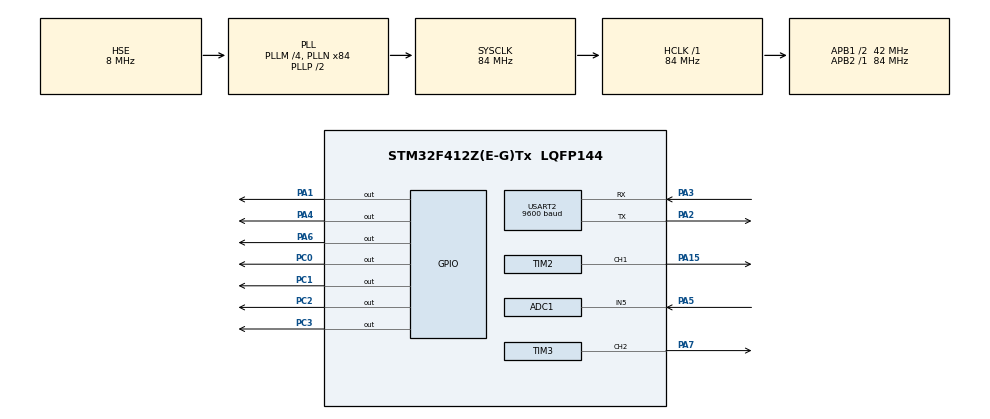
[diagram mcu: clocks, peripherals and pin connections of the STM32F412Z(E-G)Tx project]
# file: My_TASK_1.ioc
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ADC1.Channel-0\#ChannelRegularConversion=ADC_CHANNEL_5
ADC1.ContinuousConvMode=ENABLE
ADC1.NbrOfConversionFlag=1
ADC1.Rank-0\#ChannelRegularConversion=1
ADC1.SamplingTime-0\#ChannelRegularConversion=ADC_SAMPLETIME_480CYCLES
ADC1.master=1
Mcu.Family=STM32F4
Mcu.Name=STM32F412Z(E-G)Tx
Mcu.Package=LQFP144
NVIC.PriorityGroup=NVIC_PRIORITYGROUP_4
NVIC.USART2_IRQn=true\:0\:0\:false\:false\:true\:true\:true\:true
PA1.Signal=GPIO_Output
PA13.Mode=Serial_Wire
PA13.Signal=SYS_JTMS-SWDIO
PA14.Mode=Serial_Wire
PA14.Signal=SYS_JTCK-SWCLK
PA15.Signal=S_TIM2_CH1_ETR
PA2.GPIO_PuPd=GPIO_PULLUP
PA2.Mode=Asynchronous
PA2.Signal=USART2_TX
PA3.GPIO_PuPd=GPIO_PULLUP
PA3.Mode=Asynchronous
PA3.Signal=USART2_RX
PA4.Signal=GPIO_Output
PA5.Signal=ADCx_IN5
PA6.Signal=GPIO_Output
PA7.Signal=S_TIM3_CH2
PC0.Signal=GPIO_Output
PC1.Signal=GPIO_Output
PC2.Signal=GPIO_Output
PC3.Signal=GPIO_Output
PH0\ -\ OSC_IN.Mode=HSE-External-Oscillator
PH0\ -\ OSC_IN.Signal=RCC_OSC_IN
PH1\ -\ OSC_OUT.Mode=HSE-External-Oscillator
PH1\ -\ OSC_OUT.Signal=RCC_OSC_OUT
ProjectManager.HeapSize=0x200
ProjectManager.StackSize=0x400
ProjectManager.TargetToolchain=STM32CubeIDE
RCC.AHBFreq_Value=84000000
RCC.APB1CLKDivider=RCC_HCLK_DIV2
RCC.APB1Freq_Value=42000000
RCC.APB1TimFreq_Value=84000000
RCC.APB2Freq_Value=84000000
RCC.APB2TimFreq_Value=84000000
RCC.CortexFreq_Value=84000000
RCC.HCLKFreq_Value=84000000
RCC.HSE_VALUE=8000000
RCC.PLLM=4
RCC.PLLN=84
RCC.PLLSourceVirtual=RCC_PLLSOURCE_HSE
RCC.SYSCLKFreq_VALUE=84000000
RCC.SYSCLKSource=RCC_SYSCLKSOURCE_PLLCLK
RCC.USBFreq_Value=84000000
RCC.VCOOutputFreq_Value=168000000
SH.ADCx_IN5.0=ADC1_IN5,IN5
SH.S_TIM2_CH1_ETR.0=TIM2_CH1,PWM Generation1 CH1
SH.S_TIM3_CH2.0=TIM3_CH2,PWM Generation2 CH2
TIM2.Channel-PWM\ Generation1\ CH1=TIM_CHANNEL_1
TIM2.Period=10000-1
TIM2.Prescaler=8400-1
TIM3.Channel-PWM\ Generation2\ CH2=TIM_CHANNEL_2
TIM3.Period=4096-1
TIM3.Prescaler=84-1
USART2.BaudRate=9600
USART2.VirtualMode=VM_ASYNC
VP_TIM2_VS_ClockSourceINT.Mode=Internal
VP_TIM3_VS_ClockSourceINT.Mode=Internal
board=custom

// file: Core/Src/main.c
/* USER CODE END Header */
#include "main.h"
#include "lcd.h"
#include "string.h"
#include "stdio.h"

/* USER CODE BEGIN Includes */

/* USER CODE BEGIN PTD */
#define FRAME_TIMEOUT 10000    // in ms, adjust to your baudrate
#define CMD_SHOW_TIME 5000

#define RX_BUFFER_SIZE 103
/* USER CODE END PTD */

ADC_HandleTypeDef hadc1;

TIM_HandleTypeDef htim2;
TIM_HandleTypeDef htim3;

UART_HandleTypeDef huart2;

/* USER CODE BEGIN PV */
uint8_t a;
char buf[25];
//char buffer[17];
//char buffer1[16];
//char buffer2[16];
volatile uint8_t rx_buffer[RX_BUFFER_SIZE];
//char rx_buffer[17];
char msg[20];
uint32_t adc_value=0;
uint32_t size = 0;
uint8_t display_command = 0;
uint32_t command_display_tick = 0;

typedef enum {
	WAIT_START,
	WAIT_LENGTH,
	RECEIVE_DATA,
	WAIT_STOP
} RX_State;

volatile RX_State rx_state = WAIT_START;
volatile uint32_t last_rx_time;
volatile uint8_t rx_byte;
volatile uint8_t rx_index = 0;
volatile uint8_t expected_length = 0;
volatile uint8_t flagframecompleted = 0;
volatile uint32_t frame_tick = 0;

/* USER CODE END PV */

void SystemClock_Config(void);
static void MX_GPIO_Init(void);
static void MX_ADC1_Init(void);
static void MX_TIM2_Init(void);
static void MX_TIM3_Init(void);
static void MX_USART2_UART_Init(void);

/* USER CODE BEGIN 0 */

void ADC_Read()
{
	HAL_ADC_Start(&hadc1);
	if (HAL_ADC_PollForConversion(&hadc1, 1000) == HAL_OK)
	{
	   adc_value = HAL_ADC_GetValue(&hadc1);
	   snprintf(msg, 16, "ADC:%lu", adc_value);
	   LCD_Set_Cursor(0, 0);
	   LCD_Send_String(msg);

	   // Send ADC value to PC
	   HAL_UART_Transmit(&huart2, (uint8_t*)msg, strlen(msg), HAL_MAX_DELAY);
	   HAL_UART_Transmit(&huart2, (uint8_t *)"\r\n", 2, HAL_MAX_DELAY);
	}
	HAL_ADC_Stop(&hadc1);
}
void UART_Tx(char *test)
{
	HAL_UART_Transmit(&huart2, (uint8_t *)test, strlen(test),HAL_MAX_DELAY);
}
void Led1_brightness_control(int val)
{
	HAL_TIM_PWM_Start(&htim3, TIM_CHANNEL_2);
	__HAL_TIM_SET_COMPARE(&htim3, TIM_CHANNEL_2, val);
}
void Led2_control_ON_OFF(char value)
{
	HAL_TIM_PWM_Start(&htim2, TIM_CHANNEL_1);
	if(value==1)
	{
		__HAL_TIM_SET_COMPARE(&htim2, TIM_CHANNEL_1, 4095);
	}
	else if(value==0)
	{
	    __HAL_TIM_SET_COMPARE(&htim2, TIM_CHANNEL_1, 0);
	}
}
void LCD_Display(char *msg)
{
	LCD_Clear();
	LCD_Set_Cursor(0, 0);
    LCD_Send_String(msg);
    LCD_Set_Cursor(1, 0);
    LCD_Send_String("     ");
}
void HAL_UART_RxCpltCallback(UART_HandleTypeDef *huart)
{
    if (huart->Instance == USART2)
    {
        uint32_t now = HAL_GetTick();

        if ((now - last_rx_time) > FRAME_TIMEOUT)
        {
            rx_state = WAIT_START;
            rx_index = 0;
            expected_length = 0;
            memset(rx_buffer, 0, sizeof(rx_buffer));
        }

        last_rx_time = now;
        uint8_t b = rx_byte;
        switch (rx_state)
        {
            case WAIT_START:
                if (b == 0xAA)
                {
                    rx_buffer[0] = b;  // Store start byte
                    rx_state = WAIT_LENGTH;
                    rx_index = 1;
                }
                break;

            case WAIT_LENGTH:
                rx_buffer[rx_index++] = b;
                expected_length = b;
                if (expected_length > 0 && expected_length <=(RX_BUFFER_SIZE - 3))
                {
                    rx_state = RECEIVE_DATA;
                }
                else
                {
                    rx_state = WAIT_START;
                    rx_index = 0;
                }
                break;

            case RECEIVE_DATA:
                rx_buffer[rx_index++] = b;
                if (rx_index >= (expected_length+2))
                {
                    rx_state = WAIT_STOP;
                }
                break;

            case WAIT_STOP:
                if (b == 0x55)
                {
                    rx_buffer[rx_index++] = b;
                    flagframecompleted = 1;
                    frame_tick = HAL_GetTick();
                }
                rx_state = WAIT_START;
                rx_index = 0;
                expected_length = 0;
                break;
        }

		HAL_UART_Receive_IT(&huart2, &rx_byte, 1);
	}
}
void HAL_UART_ErrorCallback(UART_HandleTypeDef *huart) {
    if (huart->Instance == USART2 && (huart->ErrorCode & HAL_UART_ERROR_ORE)) {
        __HAL_UART_CLEAR_OREFLAG(huart);
        __HAL_UART_FLUSH_DRREGISTER(huart);

        rx_state = WAIT_START;
        rx_index = 0;
        expected_length = 0;
        flagframecompleted = 0;

        HAL_UART_Receive_IT(&huart2, &rx_byte, 1);
    }
}
uint16_t decimal_value;

int main(void)
{
  /* MCU Configuration--------------------------------------------------------*/

  /* Reset of all peripherals, Initializes the Flash interface and the Systick. */
  HAL_Init();

  /* Configure the system clock */
  SystemClock_Config();

  /* Initialize all configured peripherals */
  MX_GPIO_Init();
  MX_ADC1_Init();
  MX_TIM2_Init();
  MX_TIM3_Init();
  MX_USART2_UART_Init();
  /* USER CODE BEGIN 2 */
  LCD_Init();

  //HAL_UART_Receive_IT(&huart2, rx_buffer, sizeof(rx_buffer));

  HAL_UART_Receive_IT(&huart2, &rx_byte, 1);

  /* USER CODE END 2 */
  //uint32_t last_adc_tick;

  /* Infinite loop */
  while (1)
  {
	 uint32_t now = HAL_GetTick();
	 UART_Tx("Hello\r\n");

//	 uint8_t test_data[2] = {0x04, 0x05};
//	 uint16_t decimal_test_value = ((uint16_t)test_data[0] << 8) | test_data[1];
//	 snprintf(buf, sizeof(buf), "Decimal: %u", decimal_test_value);
//	 UART_Tx(buf);
//	 LCD_Set_Cursor(1, 0);
//	 LCD_Send_String(buf);

	 if (flagframecompleted==1)
	 {
//		 snprintf(buffer1, sizeof(buffer), "%02X %02X %02X %02X", rx_buffer[0], rx_buffer[1], rx_buffer[2], rx_buffer[3]);
//		 LCD_Set_Cursor(1, 0);
//		 LCD_Send_String(buffer1);
//		if(expected_length >= 4)
//		 {
		    decimal_value = (rx_buffer[2] << 8) | rx_buffer[3];

		    snprintf(buf, sizeof(buf), "%u", decimal_value);
		    UART_Tx(buf);

		    LCD_Clear();
		 	LCD_Set_Cursor(1, 0);
		 	LCD_Send_String(buf);
		 	HAL_Delay(3000);

		 	frame_tick = now;

		 	switch(rx_buffer[2])
		 	{
		 	    case 0x01:
		 	    	Led2_control_ON_OFF(1);
		 	    	LCD_Clear();
		 	    	LCD_Set_Cursor(1, 0);
		 	    	LCD_Send_String("LED ON");
		 	    	break;
		 	    case 0x02:
		 	    	Led2_control_ON_OFF(0);
		 	    	LCD_Clear();
		 	    	LCD_Set_Cursor(1, 0);
		 	    	LCD_Send_String("LED OFF");
		 	    	break;
		 	   case 0x00:
		 	        Led1_brightness_control(0);
		 	        LCD_Clear();
		 	        LCD_Set_Cursor(1, 0);
		 	        LCD_Send_String("Brightness: 0%");
		 	        break;

		 	   case 0x40:
		 	        Led1_brightness_control((0x40 * 4095) / 255);
		 	        LCD_Clear();
		 	        LCD_Set_Cursor(1, 0);
		 	        LCD_Send_String("Brightness: 25%");
		 	        break;

		 	    case 0x80:
		 	         Led1_brightness_control((0x80 * 4095) / 255);
		 	         LCD_Clear();
		 	         LCD_Set_Cursor(1, 0);
		 	         LCD_Send_String("Brightness: 50%");
		 	         break;

		 	    case 0xC0:
		 	         Led1_brightness_control((0xC0 * 4095) / 255);
		 	         LCD_Clear();
		 	         LCD_Set_Cursor(1, 0);
		 	         LCD_Send_String("Brightness: 75%");
		 	         break;

		 	    case 0xFF:
		 	         Led1_brightness_control(4095);
		 	         LCD_Clear();
		 	         LCD_Set_Cursor(1, 0);
		 	         LCD_Send_String("Brightness: 100%");
		 	         break;

		 	   default:
		 	          LCD_Clear();
		 	          LCD_Set_Cursor(1, 0);
		 	          //LCD_Send_String("Unknown Cmd");
		 	          break;
		 	}

		 	flagframecompleted = 0;
		 	frame_tick = now;
	    }
	 //flagframecompleted = 0;

	  ADC_Read();
	  HAL_Delay(1000);
  }
  /* USER CODE END 3 */
}

void SystemClock_Config(void)
{
  RCC_OscInitTypeDef RCC_OscInitStruct = {0};
  RCC_ClkInitTypeDef RCC_ClkInitStruct = {0};

  /** Configure the main internal regulator output voltage
  */
  __HAL_RCC_PWR_CLK_ENABLE();
  __HAL_PWR_VOLTAGESCALING_CONFIG(PWR_REGULATOR_VOLTAGE_SCALE1);

  /** Initializes the RCC Oscillators according to the specified parameters
  * in the RCC_OscInitTypeDef structure.
  */
  RCC_OscInitStruct.OscillatorType = RCC_OSCILLATORTYPE_HSE;
  RCC_OscInitStruct.HSEState = RCC_HSE_ON;
  RCC_OscInitStruct.PLL.PLLState = RCC_PLL_ON;
  RCC_OscInitStruct.PLL.PLLSource = RCC_PLLSOURCE_HSE;
  RCC_OscInitStruct.PLL.PLLM = 4;
  RCC_OscInitStruct.PLL.PLLN = 84;
  RCC_OscInitStruct.PLL.PLLP = RCC_PLLP_DIV2;
  RCC_OscInitStruct.PLL.PLLQ = 2;
  RCC_OscInitStruct.PLL.PLLR = 2;
  if (HAL_RCC_OscConfig(&RCC_OscInitStruct) != HAL_OK)
  {
    Error_Handler();
  }

  /** Initializes the CPU, AHB and APB buses clocks
  */
  RCC_ClkInitStruct.ClockType = RCC_CLOCKTYPE_HCLK|RCC_CLOCKTYPE_SYSCLK
                              |RCC_CLOCKTYPE_PCLK1|RCC_CLOCKTYPE_PCLK2;
  RCC_ClkInitStruct.SYSCLKSource = RCC_SYSCLKSOURCE_PLLCLK;
  RCC_ClkInitStruct.AHBCLKDivider = RCC_SYSCLK_DIV1;
  RCC_ClkInitStruct.APB1CLKDivider = RCC_HCLK_DIV2;
  RCC_ClkInitStruct.APB2CLKDivider = RCC_HCLK_DIV1;

  if (HAL_RCC_ClockConfig(&RCC_ClkInitStruct, FLASH_LATENCY_2) != HAL_OK)
  {
    Error_Handler();
  }
}

static void MX_ADC1_Init(void)
{

  ADC_ChannelConfTypeDef sConfig = {0};

  /** Configure the global features of the ADC (Clock, Resolution, Data Alignment and number of conversion)
  */
  hadc1.Instance = ADC1;
  hadc1.Init.ClockPrescaler = ADC_CLOCK_SYNC_PCLK_DIV4;
  hadc1.Init.Resolution = ADC_RESOLUTION_12B;
  hadc1.Init.ScanConvMode = DISABLE;
  hadc1.Init.ContinuousConvMode = ENABLE;
  hadc1.Init.DiscontinuousConvMode = DISABLE;
  hadc1.Init.ExternalTrigConvEdge = ADC_EXTERNALTRIGCONVEDGE_NONE;
  hadc1.Init.ExternalTrigConv = ADC_SOFTWARE_START;
  hadc1.Init.DataAlign = ADC_DATAALIGN_RIGHT;
  hadc1.Init.NbrOfConversion = 1;
  hadc1.Init.DMAContinuousRequests = DISABLE;
  hadc1.Init.EOCSelection = ADC_EOC_SINGLE_CONV;
  if (HAL_ADC_Init(&hadc1) != HAL_OK)
  {
    Error_Handler();
  }

  /** Configure for the selected ADC regular channel its corresponding rank in the sequencer and its sample time.
  */
  sConfig.Channel = ADC_CHANNEL_5;
  sConfig.Rank = 1;
  sConfig.SamplingTime = ADC_SAMPLETIME_480CYCLES;
  if (HAL_ADC_ConfigChannel(&hadc1, &sConfig) != HAL_OK)
  {
    Error_Handler();
  }

}

static void MX_TIM2_Init(void)
{

  TIM_ClockConfigTypeDef sClockSourceConfig = {0};
  TIM_MasterConfigTypeDef sMasterConfig = {0};
  TIM_OC_InitTypeDef sConfigOC = {0};

  htim2.Instance = TIM2;
  htim2.Init.Prescaler = 8400-1;
  htim2.Init.CounterMode = TIM_COUNTERMODE_UP;
  htim2.Init.Period = 10000-1;
  htim2.Init.ClockDivision = TIM_CLOCKDIVISION_DIV1;
  htim2.Init.AutoReloadPreload = TIM_AUTORELOAD_PRELOAD_DISABLE;
  if (HAL_TIM_Base_Init(&htim2) != HAL_OK)
  {
    Error_Handler();
  }
  sClockSourceConfig.ClockSource = TIM_CLOCKSOURCE_INTERNAL;
  if (HAL_TIM_ConfigClockSource(&htim2, &sClockSourceConfig) != HAL_OK)
  {
    Error_Handler();
  }
  if (HAL_TIM_PWM_Init(&htim2) != HAL_OK)
  {
    Error_Handler();
  }
  sMasterConfig.MasterOutputTrigger = TIM_TRGO_RESET;
  sMasterConfig.MasterSlaveMode = TIM_MASTERSLAVEMODE_DISABLE;
  if (HAL_TIMEx_MasterConfigSynchronization(&htim2, &sMasterConfig) != HAL_OK)
  {
    Error_Handler();
  }
  sConfigOC.OCMode = TIM_OCMODE_PWM1;
  sConfigOC.Pulse = 0;
  sConfigOC.OCPolarity = TIM_OCPOLARITY_HIGH;
  sConfigOC.OCFastMode = TIM_OCFAST_DISABLE;
  if (HAL_TIM_PWM_ConfigChannel(&htim2, &sConfigOC, TIM_CHANNEL_1) != HAL_OK)
  {
    Error_Handler();
  }
  HAL_TIM_MspPostInit(&htim2);

}

static void MX_TIM3_Init(void)
{

  TIM_ClockConfigTypeDef sClockSourceConfig = {0};
  TIM_MasterConfigTypeDef sMasterConfig = {0};
  TIM_OC_InitTypeDef sConfigOC = {0};

  htim3.Instance = TIM3;
  htim3.Init.Prescaler = 84-1;
  htim3.Init.CounterMode = TIM_COUNTERMODE_UP;
  htim3.Init.Period = 4096-1;
  htim3.Init.ClockDivision = TIM_CLOCKDIVISION_DIV1;
  htim3.Init.AutoReloadPreload = TIM_AUTORELOAD_PRELOAD_DISABLE;
  if (HAL_TIM_Base_Init(&htim3) != HAL_OK)
  {
    Error_Handler();
  }
  sClockSourceConfig.ClockSource = TIM_CLOCKSOURCE_INTERNAL;
  if (HAL_TIM_ConfigClockSource(&htim3, &sClockSourceConfig) != HAL_OK)
  {
    Error_Handler();
  }
  if (HAL_TIM_PWM_Init(&htim3) != HAL_OK)
  {
    Error_Handler();
  }
  sMasterConfig.MasterOutputTrigger = TIM_TRGO_RESET;
  sMasterConfig.MasterSlaveMode = TIM_MASTERSLAVEMODE_DISABLE;
  if (HAL_TIMEx_MasterConfigSynchronization(&htim3, &sMasterConfig) != HAL_OK)
  {
    Error_Handler();
  }
  sConfigOC.OCMode = TIM_OCMODE_PWM1;
  sConfigOC.Pulse = 0;
  sConfigOC.OCPolarity = TIM_OCPOLARITY_HIGH;
  sConfigOC.OCFastMode = TIM_OCFAST_DISABLE;
  if (HAL_TIM_PWM_ConfigChannel(&htim3, &sConfigOC, TIM_CHANNEL_2) != HAL_OK)
  {
    Error_Handler();
  }
  HAL_TIM_MspPostInit(&htim3);

}

static void MX_USART2_UART_Init(void)
{

  huart2.Instance = USART2;
  huart2.Init.BaudRate = 115200;
  huart2.Init.WordLength = UART_WORDLENGTH_8B;
  huart2.Init.StopBits = UART_STOPBITS_1;
  huart2.Init.Parity = UART_PARITY_NONE;
  huart2.Init.Mode = UART_MODE_TX_RX;
  huart2.Init.HwFlowCtl = UART_HWCONTROL_NONE;
  huart2.Init.OverSampling = UART_OVERSAMPLING_16;
  if (HAL_UART_Init(&huart2) != HAL_OK)
  {
    Error_Handler();
  }

}

static void MX_GPIO_Init(void)
{
  GPIO_InitTypeDef GPIO_InitStruct = {0};

  /* GPIO Ports Clock Enable */
  __HAL_RCC_GPIOH_CLK_ENABLE();
  __HAL_RCC_GPIOC_CLK_ENABLE();
  __HAL_RCC_GPIOA_CLK_ENABLE();

  /*Configure GPIO pin Output Level */
  HAL_GPIO_WritePin(GPIOC, GPIO_PIN_0|GPIO_PIN_1|GPIO_PIN_2|GPIO_PIN_3, GPIO_PIN_RESET);

  /*Configure GPIO pin Output Level */
  HAL_GPIO_WritePin(GPIOA, GPIO_PIN_1|GPIO_PIN_4|GPIO_PIN_6, GPIO_PIN_RESET);

  /*Configure GPIO pins : PC0 PC1 PC2 PC3 */
  GPIO_InitStruct.Pin = GPIO_PIN_0|GPIO_PIN_1|GPIO_PIN_2|GPIO_PIN_3;
  GPIO_InitStruct.Mode = GPIO_MODE_OUTPUT_PP;
  GPIO_InitStruct.Pull = GPIO_NOPULL;
  GPIO_InitStruct.Speed = GPIO_SPEED_FREQ_LOW;
  HAL_GPIO_Init(GPIOC, &GPIO_InitStruct);

  /*Configure GPIO pins : PA1 PA4 PA6 */
  GPIO_InitStruct.Pin = GPIO_PIN_1|GPIO_PIN_4|GPIO_PIN_6;
  GPIO_InitStruct.Mode = GPIO_MODE_OUTPUT_PP;
  GPIO_InitStruct.Pull = GPIO_NOPULL;
  GPIO_InitStruct.Speed = GPIO_SPEED_FREQ_LOW;
  HAL_GPIO_Init(GPIOA, &GPIO_InitStruct);

}

void Error_Handler(void)
{
  __disable_irq();
  while (1)
  {
  }
}
